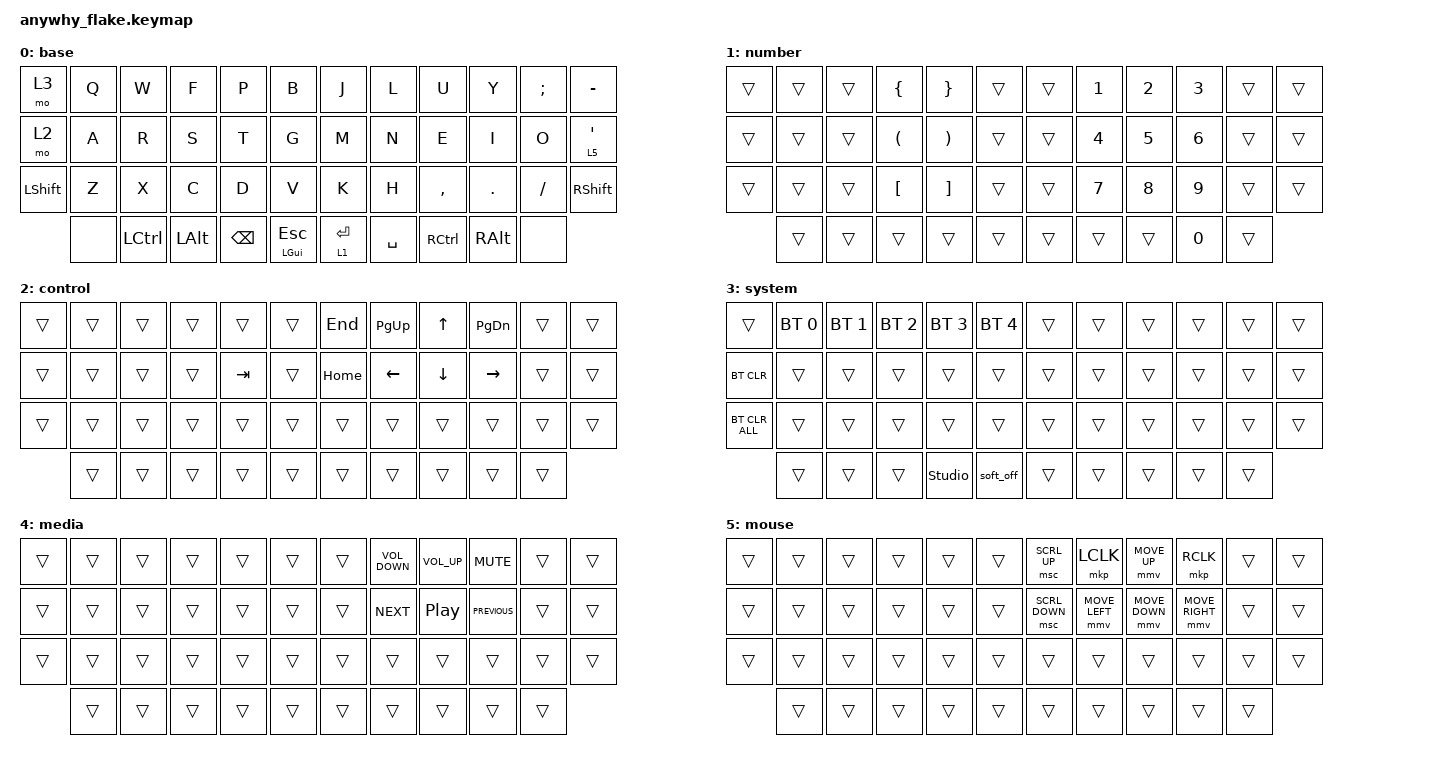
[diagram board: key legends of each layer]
#include <behaviors.dtsi>
#include <dt-bindings/zmk/bt.h>
#include <dt-bindings/zmk/keys.h>
#include <dt-bindings/zmk/pointing.h>

/ {
    combos { compatible = "zmk,combos"; };

    chosen { zmk,physical-layout = &medium_layout; };

    keymap {
        compatible = "zmk,keymap";

        base {
            bindings = <
&mo 3           &kp Q  &kp W             &kp F         &kp P          &kp B                  &kp J        &kp L      &kp U              &kp Y          &kp SEMICOLON  &kp MINUS
&mo 2           &kp A  &kp R             &kp S         &kp T          &kp G                  &kp M        &kp N      &kp E              &kp I          &kp O          &lt 5 SQT
&kp LEFT_SHIFT  &kp Z  &kp X             &kp C         &kp D          &kp V                  &kp K        &kp H      &kp COMMA          &kp PERIOD     &kp SLASH      &kp RIGHT_SHIFT
                &none  &kp LEFT_CONTROL  &kp LEFT_ALT  &kp BACKSPACE  &mt LEFT_GUI ESCAPE    &lt 1 ENTER  &kp SPACE  &kp RIGHT_CONTROL  &kp RIGHT_ALT  &none
            >;
        };

        number {
            bindings = <
&trans  &trans  &trans  &kp LEFT_BRACE        &kp RIGHT_BRACE        &trans    &trans  &kp NUMBER_1  &kp NUMBER_2  &kp NUMBER_3  &trans  &trans
&trans  &trans  &trans  &kp LEFT_PARENTHESIS  &kp RIGHT_PARENTHESIS  &trans    &trans  &kp N4        &kp N5        &kp N6        &trans  &trans
&trans  &trans  &trans  &kp LEFT_BRACKET      &kp RIGHT_BRACKET      &trans    &trans  &kp N7        &kp N8        &kp N9        &trans  &trans
        &trans  &trans  &trans                &trans                 &trans    &trans  &trans        &trans        &kp NUMBER_0  &trans
            >;
        };

        control {
            bindings = <
&trans  &trans  &trans  &trans  &trans   &trans    &kp END   &kp PAGE_UP     &kp UP_ARROW    &kp PAGE_DOWN    &trans  &trans
&trans  &trans  &trans  &trans  &kp TAB  &trans    &kp HOME  &kp LEFT_ARROW  &kp DOWN_ARROW  &kp RIGHT_ARROW  &trans  &trans
&trans  &trans  &trans  &trans  &trans   &trans    &trans    &trans          &trans          &trans           &trans  &trans
        &trans  &trans  &trans  &trans   &trans    &trans    &trans          &trans          &trans           &trans
            >;
        };

        system {
            bindings = <
&trans          &bt BT_SEL 0  &bt BT_SEL 1  &bt BT_SEL 2  &bt BT_SEL 3    &bt BT_SEL 4    &trans  &trans  &trans  &trans  &trans  &trans
&bt BT_CLR      &trans        &trans        &trans        &trans          &trans          &trans  &trans  &trans  &trans  &trans  &trans
&bt BT_CLR_ALL  &trans        &trans        &trans        &trans          &trans          &trans  &trans  &trans  &trans  &trans  &trans
                &trans        &trans        &trans        &studio_unlock  &soft_off       &trans  &trans  &trans  &trans  &trans
            >;
        };

        media {
            bindings = <
&trans  &trans  &trans  &trans  &trans  &trans    &trans  &kp C_VOLUME_DOWN  &kp C_VOLUME_UP   &kp C_MUTE      &trans  &trans
&trans  &trans  &trans  &trans  &trans  &trans    &trans  &kp C_NEXT         &kp C_PLAY_PAUSE  &kp C_PREVIOUS  &trans  &trans
&trans  &trans  &trans  &trans  &trans  &trans    &trans  &trans             &trans            &trans          &trans  &trans
        &trans  &trans  &trans  &trans  &trans    &trans  &trans             &trans            &trans          &trans
            >;
        };

        mouse {
            bindings = <
&trans  &trans  &trans  &trans  &trans  &trans    &msc SCRL_UP    &mkp LCLK       &mmv MOVE_UP    &mkp RCLK        &trans  &trans
&trans  &trans  &trans  &trans  &trans  &trans    &msc SCRL_DOWN  &mmv MOVE_LEFT  &mmv MOVE_DOWN  &mmv MOVE_RIGHT  &trans  &trans
&trans  &trans  &trans  &trans  &trans  &trans    &trans          &trans          &trans          &trans           &trans  &trans
        &trans  &trans  &trans  &trans  &trans    &trans          &trans          &trans          &trans           &trans
            >;
        };
    };
};
